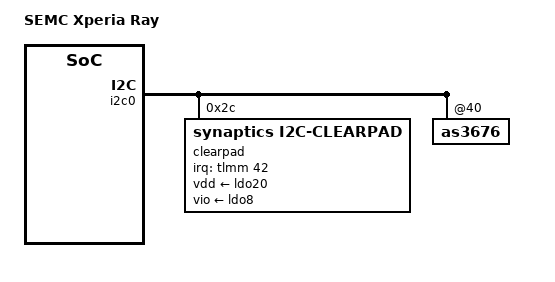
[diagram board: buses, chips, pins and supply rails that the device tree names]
#include "qcom-msm7x30-semc-mogami.dtsi"

#include <dt-bindings/input/input.h>

/ {
	model = "SEMC Xperia Ray";
};

&i2c0 {
	clearpad@2C {
		compatible = "synaptics,i2c-clearpad";
		reg = <0x2C>;
		interrupt-parent = <&tlmm>;
		interrupts = <42 IRQ_TYPE_LEVEL_LOW>;

		pinctrl-names = "default";
		pinctrl-0 = <&clearpad_gpios>;

		vdd-supply = <&ldo20>;
		vio-supply = <&ldo8>;

		pointer {
			syn,x1 = <0>;
			syn,y1 = <0>;
			syn,x2 = <479>;
			syn,y2 = <853>;

			syn,pointer;
		};

		bottom-edge {
			syn,x1 = <0>;
			syn,y1 = <854>;
			syn,x2 = <479>;
			syn,y2 = <863>;

			syn,bottom-edge;
		};

		back-key {
			syn,x1 = <0>;
			syn,y1 = <884>;
			syn,x2 = <159>;
			syn,y2 = <921>;

			syn,button;
			linux,type = <0x01>;
			linux,code = <158>;
		};

		back-key-inbound {
			syn,x1 = <0>;
			syn,y1 = <884>;
			syn,x2 = <179>;
			syn,y2 = <921>;

			syn,button-inbound;
			linux,type = <0x01>;
			linux,code = <158>;
		};

		menu-key {
			syn,x1 = <320>;
			syn,y1 = <884>;
			syn,x2 = <479>;
			syn,y2 = <921>;

			syn,button;
			linux,type = <0x01>;
			linux,code = <139>;
		};

		menu-key-inbound {
			syn,x1 = <300>;
			syn,y1 = <864>;
			syn,x2 = <479>;
			syn,y2 = <921>;

			syn,button-inbound;
			linux,type = <0x01>;
			linux,code = <139>;
		};
	};

	as3676@40 {
		als-wait = <100>;

		lcd-backlight {
			label = "lcd-backlight";
			max-current = <20000>;
			hw-max-current = <20000>;
			default-brightness = <255>;
			sink-01;
			flag-pwm-ctrl;
			flag-pwm-init;
			flag-wait-resume;
		};

		torch {
			label = "torch";
			max-current = <30000>;
			hw-max-current = <30000>;
			sink-30;
			sink-31;
		};

		red {
			label = "red";
			max-current = <2400>;
			hw-max-current = <20000>;
			sink-41;
			flag-rgb;
			flag-blink;
		};

		green {
			label = "green";
			max-current = <4200>;
			hw-max-current = <20000>;
			sink-42;
			flag-rgb;
			flag-blink;
		};

		blue {
			label = "blue";
			max-current = <3000>;
			hw-max-current = <20000>;
			sink-43;
			flag-rgb;
			flag-blink;
		};
	};
};

&pmicintc {
	keypad@148 {
		linux,keymap = <
			MATRIX_KEY(0, 0, KEY_BACK)
			MATRIX_KEY(0, 1, KEY_HOME)
			MATRIX_KEY(0, 2, KEY_MENU)
			MATRIX_KEY(0, 3, KEY_VOLUMEUP)
			MATRIX_KEY(0, 4, KEY_VOLUMEDOWN)
			>;
		keypad,num-rows = <1>;
		keypad,num-columns = <5>;
		wakeup-source;

		pinctrl-names = "default";
		pinctrl-0 = <&pm8058_keypad_gpios>;
	};
};

&msm_i2c_gpios {
	i2c_sclsda {
		drive-strength = <8>;
	};
};

&msm_i2c_io_gpios {
	i2c_sclsda {
		drive-strength = <8>;
	};
};

&sdc4_gpios {
	sdc4_clkdat {
		drive-strength = <4>;
	};
};

&tlmm {
	clearpad_gpios: clearpad_gpios {
		clearpad_irq {
			pins = "gpio42";
			function = "gpio";
			bias-pull-up;
			drive-strength = <2>;
			input-enable;
		};
	};
};
